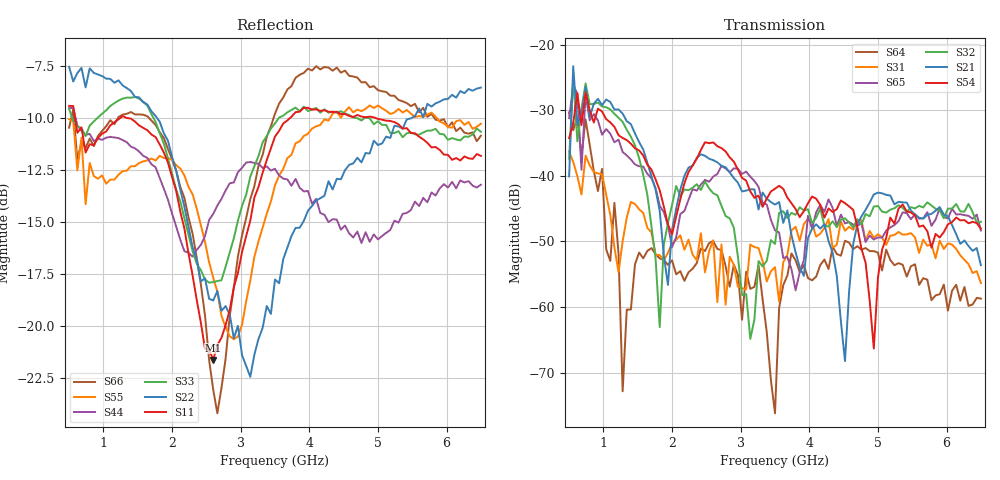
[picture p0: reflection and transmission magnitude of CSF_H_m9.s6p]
!Keysight Technologies,M9804A,MY58100912,A.14.10.03
!Date: Thursday, April 27, 2023 10:28:33
!Correction: S11(C  6-Port  )
!S12(C  6-Port  )
!S13(C  6-Port  )
!S14(C  6-Port  )
!S15(C  6-Port  )
!S16(C  6-Port  )
!S21(C  6-Port  )
!S22(C  6-Port  )
!S23(C  6-Port  )
!S24(C  6-Port  )
!S25(C  6-Port  )
!S26(C  6-Port  )
!S31(C  6-Port  )
!S32(C  6-Port  )
!S33(C  6-Port  )
!S34(C  6-Port  )
!S35(C  6-Port  )
!S36(C  6-Port  )
!S41(C  6-Port  )
!S42(C  6-Port  )
!S43(C  6-Port  )
!S44(C  6-Port  )
!S45(C  6-Port  )
!S46(C  6-Port  )
!S51(C  6-Port  )
!S52(C  6-Port  )
!S53(C  6-Port  )
!S54(C  6-Port  )
!S55(C  6-Port  )
!S56(C  6-Port  )
!S61(C  6-Port  )
!S62(C  6-Port  )
!S63(C  6-Port  )
!S64(C  6-Port  )
!S65(C  6-Port  )
!S66(C  6-Port  )
!S6P File: Measurement: :
# Hz S  RI  R 50
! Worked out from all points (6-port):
!   101 points, 500 MHz to 6.5 GHz, reference 50 ohm
!   strongest paths, dB at 500 MHz, 2 GHz, 3.5 GHz, 5 GHz, 6.5 GHz:
!     S54: -34.3, -48.9, -42.0, -55.5, -48.1
!     S21: -40.1, -48.2, -44.4, -42.6, -53.6
!     S32: -37.4, -44.4, -50.4, -44.6, -47.0
!     S65: -31.2, -50.9, -48.3, -49.4, -48.3
!     S31: -36.3, -50.3, -53.9, -48.9, -56.3
!     S64: -30.3, -52.9, -76.2, -51.7, -58.7
!   lowest |S11| = -21.6 dB at 2.6 GHz (marker M1), VSWR 1.18, Z = 42.6 + j2.04 ohm
!   |S11| at or under -10 dB: 587.3 MHz to 1.24 GHz (652.4 MHz wide, 71.4 % of centre); 1.368 GHz to 3.716 GHz (2.348 GHz wide, 92.4 % of centre); 4.974 GHz to end of sweep
